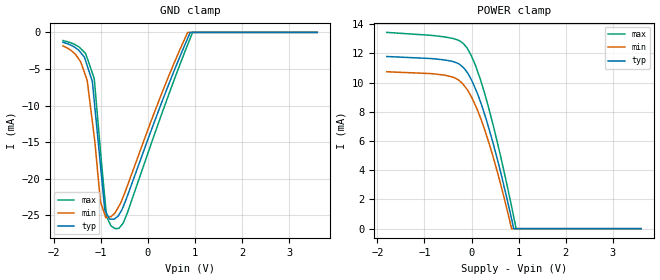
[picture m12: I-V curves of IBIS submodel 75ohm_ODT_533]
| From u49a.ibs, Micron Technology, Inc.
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|   SUBMODEL 75ohm_ODT_533
[Submodel]  75ohm_ODT_533
Submodel_type   Dynamic_clamp
[GND CLAMP]
|   Voltage   I(typ)   I(min)   I(max)
-1.8V     -1.346mA   -1.844mA   -1.116mA
-1.425V   -2.761mA   -4.007mA   -2.203mA
-1.285V   -4.566mA   -6.599mA   -3.524mA
-1.175V   -6.809mA   -12.3mA    -5.59mA
-1.14V    -9.14mA    -14.11mA   -6.247mA
-1.005V   -18.13mA   -23.15mA   -16.12mA
-915mV    -24.13mA   -24.89mA   -22.43mA
-875mV    -24.73mA   -25.33mA   -25.17mA
-690mV    -25.43mA   -24.65mA   -26.84mA
-430mV    -22.33mA   -20.94mA   -24.63mA
903mV     0A         NA         NA
3.6V      0A         0A         0A
[POWER CLAMP]
|   Voltage   I(typ)   I(min)   I(max)
-1.8V     11.79mA    10.74mA    13.44mA
-575mV    11.55mA    10.51mA    13.13mA
-310mV    11.35mA    10.25mA    12.94mA
-195mV    11.09mA    9.953mA    12.73mA
-90mV     10.69mA    9.522mA    12.35mA
90mV      9.524mA    8.389mA    11.13mA
220mV     8.413mA    7.322mA    9.891mA
355mV     7.017mA    6.018mA    8.39mA
580mV     4.354mA    3.516mA    5.488mA
850mV     686.4uA    11.31uA    1.531mA
897mV     0A         NA         NA
3.6V      0A         0A         0A
